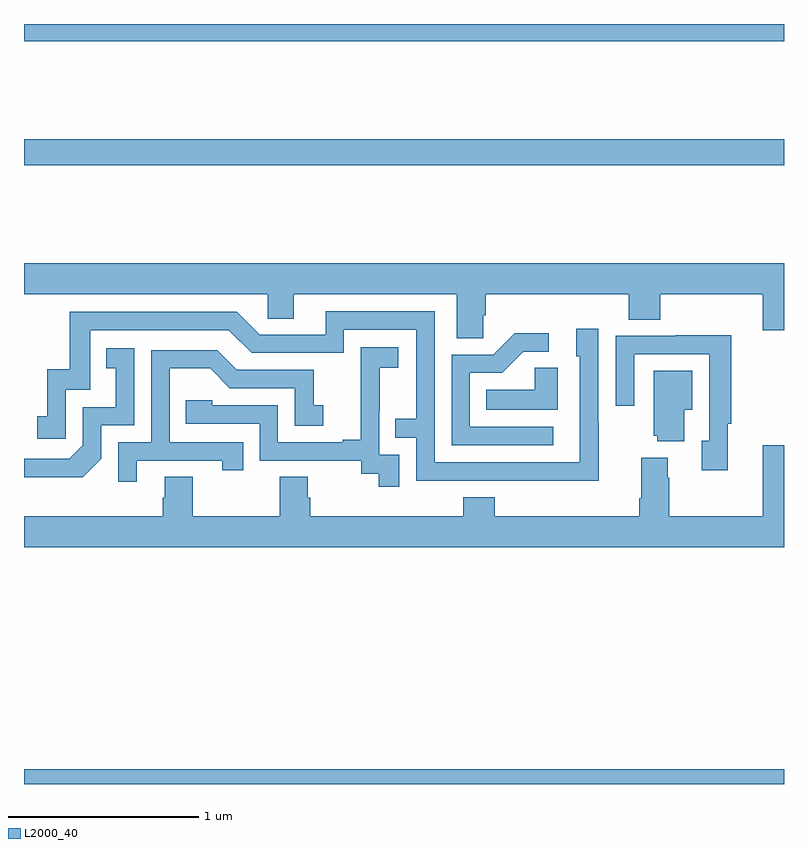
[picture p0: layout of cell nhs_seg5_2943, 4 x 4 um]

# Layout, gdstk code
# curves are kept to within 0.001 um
import gdstk
lib = gdstk.Library(unit=1e-6, precision=1e-09)
def R(c, l, rs):  # rectangles x0, y0, x1, y1
    for r in rs: c.add(gdstk.rectangle(r[:2], r[2:], *l))
def P(c, l, *ps):  # polygons
    for p in ps: c.add(gdstk.Polygon(p, *l))
L2000_40 = (2000, 40)

nhs_seg5_2943 = lib.new_cell('nhs_seg5_2943')
R(nhs_seg5_2943, L2000_40, [(281,904.799,285,904.876), (281,908.056,285,908.192), (281,908.708,285,908.799)])
P(nhs_seg5_2943, L2000_40, [(283.416,907.267),(283.43,907.267),(283.43,907.376),(284.183,907.376),(284.183,907.243),(284.348,907.243),(284.348,907.376),(284.888,907.376),(284.888,907.188),(285,907.188),(285,907.54),(281,907.54),(281,907.376),(282.282,907.376),(282.282,907.249),(282.421,907.249),(282.421,907.376),(283.277,907.376),(283.277,907.144),(283.416,907.144)],
  [(284.025,906.701),(284.022,906.701),(284.022,907.195),(283.907,907.195),(283.907,907.05),(283.926,907.05),(283.926,906.492),(283.161,906.492),(283.161,907.287),(282.587,907.287),(282.587,907.164),(282.24,907.164),(282.12,907.284),(281.241,907.284),(281.241,906.982),(281.123,906.982),(281.123,906.735),(281.07,906.735),(281.07,906.615),(281.22,906.615),(281.22,906.873),(281.349,906.873),(281.349,907.188),(282.078,907.188),(282.198,907.068),(282.684,907.068),(282.684,907.191),(283.065,907.191),(283.065,906.722),(282.955,906.722),(282.955,906.621),(283.065,906.621),(283.065,906.396),(284.025,906.395)],
  [(283.786,906.678),(283.347,906.678),(283.347,906.963),(283.516,906.963),(283.627,907.074),(283.762,907.074),(283.762,907.172),(283.583,907.172),(283.47,907.059),(283.251,907.059),(283.251,906.582),(283.786,906.582)],
  [(284.705,906.694),(284.723,906.694),(284.723,907.16),(284.431,907.16),(284.431,907.158),(284.115,907.158),(284.115,906.789),(284.211,906.789),(284.211,907.062),(284.607,907.062),(284.607,906.606),(284.567,906.606),(284.567,906.45),(284.705,906.45)],
  [(282.975,906.531),(282.87,906.531),(282.87,906.761),(282.872,906.761),(282.872,906.989),(282.97,906.989),(282.97,907.099),(282.772,907.099),(282.772,906.893),(282.773,906.893),(282.773,906.61),(282.677,906.61),(282.677,906.597),(282.336,906.597),(282.336,906.792),(281.991,906.792),(281.991,906.819),(281.851,906.819),(281.851,906.696),(282.24,906.696),(282.24,906.501),(282.774,906.501),(282.774,906.433),(282.867,906.433),(282.867,906.363),(282.975,906.363)],
  [(281.406,906.51),(281.406,906.687),(281.58,906.687),(281.58,907.093),(281.434,907.093),(281.434,906.987),(281.483,906.987),(281.483,906.783),(281.31,906.783),(281.31,906.582),(281.238,906.51),(281,906.51),(281,906.413),(281.308,906.413)],
  [(281.593,906.501),(282.044,906.501),(282.044,906.45),(282.155,906.45),(282.155,906.597),(281.766,906.597),(281.766,906.986),(281.98,906.986),(282.084,906.882),(282.426,906.882),(282.426,906.684),(282.574,906.684),(282.574,906.793),(282.525,906.793),(282.525,906.978),(282.121,906.978),(282.016,907.083),(281.67,907.083),(281.67,906.597),(281.496,906.597),(281.496,906.39),(281.593,906.39)],
  [(283.81,906.989),(283.689,906.989),(283.689,906.874),(283.432,906.874),(283.432,906.77),(283.81,906.77)],
  [(284.476,906.77),(284.518,906.77),(284.518,906.973),(284.315,906.973),(284.315,906.633),(284.333,906.633),(284.333,906.602),(284.476,906.602)],
  [(285,906.583),(284.888,906.583),(284.888,906.208),(284.397,906.208),(284.397,906.41),(284.389,906.41),(284.389,906.517),(284.249,906.517),(284.249,906.304),(284.237,906.304),(284.237,906.208),(283.478,906.208),(283.478,906.307),(283.313,906.307),(283.313,906.208),(282.506,906.208),(282.506,906.306),(282.493,906.306),(282.493,906.416),(282.346,906.416),(282.346,906.208),(281.889,906.208),(281.889,906.416),(281.741,906.416),(281.741,906.306),(281.729,906.306),(281.729,906.208),(281,906.208),(281,906.044),(285,906.044)])

lib.write_gds('nhs_seg5_2943.gds')
